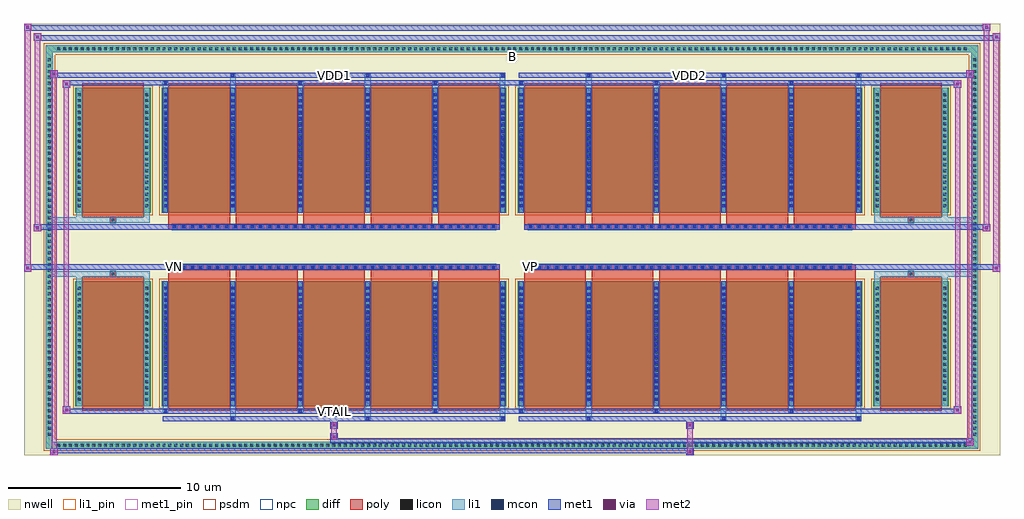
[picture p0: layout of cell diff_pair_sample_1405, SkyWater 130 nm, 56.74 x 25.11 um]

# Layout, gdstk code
import gdstk
lib = gdstk.Library(unit=1e-6, precision=5e-09)
def R(c, l, rs):  # rectangles x0, y0, x1, y1
    for r in rs: c.add(gdstk.rectangle(r[:2], r[2:], *l))
def A(c, l, x, y, w, h, nx, ny, dx, dy):  # array of equal rectangles
    R(c, l, [(x+i*dx, y+j*dy, x+i*dx+w, y+j*dy+h) for i in range(nx) for j in range(ny)])
def P(c, l, *ps):  # polygons
    for p in ps: c.add(gdstk.Polygon(p, *l))
nwell = (64, 20)
diff = (65, 20)
poly = (66, 20)
licon = (66, 44)
li1_pin = (67, 16)
li1 = (67, 20)
mcon = (67, 44)
met1_pin = (68, 16)
met1 = (68, 20)
via = (68, 44)
met2 = (69, 20)
psdm = (94, 20)
npc = (95, 20)

diff_pair_sample_1405 = lib.new_cell('diff_pair_sample_1405')
R(diff_pair_sample_1405, nwell, [(-28.37,-12.12,28.37,12.99), (-25.69,-10.31,-0.01,-0.805), (0.01,-10.31,25.69,-0.805), (-25.69,0.805,-0.01,10.31), (0.01,0.805,25.69,10.31)])
A(diff_pair_sample_1405, diff, -26.555, -11.72, 0.41, 0.41, 156, 2, 0.34, 23.03)
A(diff_pair_sample_1405, diff, -27.1, -11.085, 0.41, 0.41, 1, 65, 0, 0.34)
A(diff_pair_sample_1405, diff, 26.69, -11.085, 0.41, 0.41, 1, 65, 0, 0.34)
R(diff_pair_sample_1405, diff, [(-26.555,-11.72,26.555,-11.31), (-27.1,-11.085,-26.69,11.085), (26.69,-11.085,27.1,11.085), (-25.38,-9.265,-21.01,-1.985), (-20.37,-9.265,-0.32,-1.985), (0.32,-9.265,20.37,-1.985), (21.01,-9.265,25.38,-1.985), (-25.38,1.985,-21.01,9.265), (-20.37,1.985,-0.32,9.265), (0.32,1.985,20.37,9.265), (21.01,1.985,25.38,9.265), (-26.555,11.31,26.555,11.72)])
P(diff_pair_sample_1405, diff, [(27.1,11.72),(-27.1,11.72),(-27.1,-11.31),(-26.69,-11.31),(-26.69,11.31),(26.69,11.31),(26.69,-11.31),(-26.69,-11.31),(-27.1,-11.31),(-27.1,-11.72),(27.1,-11.72)])
A(diff_pair_sample_1405, poly, -19.98, -9.515, 3.59, 7.78, 5, 2, 3.92, 11.25)
A(diff_pair_sample_1405, poly, 0.71, -9.515, 3.59, 7.78, 5, 2, 3.92, 11.25)
A(diff_pair_sample_1405, poly, -19.98, -1.735, 3.59, 0.4, 5, 2, 3.92, 3.07)
A(diff_pair_sample_1405, poly, 0.71, -1.735, 3.59, 0.4, 5, 2, 3.92, 3.07)
A(diff_pair_sample_1405, poly, -19.76, -1.335, 0.33, 0.33, 38, 2, 0.5, 2.34)
A(diff_pair_sample_1405, poly, 0.93, -1.335, 0.33, 0.33, 38, 2, 0.5, 2.34)
R(diff_pair_sample_1405, poly, [(-24.99,-9.515,-21.4,-1.735), (21.4,-9.515,24.99,-1.735), (-23.36,-1.735,-23.03,-1.405), (-23.36,-1.735,-23.03,-1.405), (23.03,-1.735,23.36,-1.405), (23.03,-1.735,23.36,-1.405), (-19.98,-1.335,-0.71,-1.005), (0.71,-1.335,19.98,-1.005), (-19.98,1.005,-0.71,1.335), (0.71,1.005,19.98,1.335), (-23.36,1.405,-23.03,1.735), (-23.36,1.405,-23.03,1.735), (23.03,1.405,23.36,1.735), (23.03,1.405,23.36,1.735), (-24.99,1.735,-21.4,9.515), (21.4,1.735,24.99,9.515)])
A(diff_pair_sample_1405, licon, -26.435, -11.6, 0.17, 0.17, 156, 2, 0.34, 23.03)
A(diff_pair_sample_1405, licon, -26.98, -10.965, 0.17, 0.17, 1, 65, 0, 0.34)
A(diff_pair_sample_1405, licon, 26.81, -10.965, 0.17, 0.17, 1, 65, 0, 0.34)
A(diff_pair_sample_1405, licon, -25.24, -8.94, 0.17, 0.17, 1, 20, 0, 0.34)
A(diff_pair_sample_1405, licon, -21.32, -8.94, 0.17, 0.17, 1, 20, 0, 0.34)
A(diff_pair_sample_1405, licon, -20.23, -8.94, 0.17, 0.17, 6, 20, 3.92, 0.34)
A(diff_pair_sample_1405, licon, 0.46, -8.94, 0.17, 0.17, 6, 20, 3.92, 0.34)
A(diff_pair_sample_1405, licon, 21.15, -8.94, 0.17, 0.17, 1, 20, 0, 0.34)
A(diff_pair_sample_1405, licon, 25.07, -8.94, 0.17, 0.17, 1, 20, 0, 0.34)
A(diff_pair_sample_1405, licon, -19.68, -1.255, 0.17, 0.17, 38, 2, 0.5, 2.34)
A(diff_pair_sample_1405, licon, 1.01, -1.255, 0.17, 0.17, 38, 2, 0.5, 2.34)
A(diff_pair_sample_1405, licon, -25.24, 2.31, 0.17, 0.17, 1, 20, 0, 0.34)
A(diff_pair_sample_1405, licon, -21.32, 2.31, 0.17, 0.17, 1, 20, 0, 0.34)
A(diff_pair_sample_1405, licon, -20.23, 2.31, 0.17, 0.17, 6, 20, 3.92, 0.34)
A(diff_pair_sample_1405, licon, 0.46, 2.31, 0.17, 0.17, 6, 20, 3.92, 0.34)
A(diff_pair_sample_1405, licon, 21.15, 2.31, 0.17, 0.17, 1, 20, 0, 0.34)
A(diff_pair_sample_1405, licon, 25.07, 2.31, 0.17, 0.17, 1, 20, 0, 0.34)
R(diff_pair_sample_1405, licon, [(-23.28,-1.655,-23.11,-1.485), (23.11,-1.655,23.28,-1.485), (-23.28,1.485,-23.11,1.655), (23.11,1.485,23.28,1.655)])
R(diff_pair_sample_1405, li1_pin, [(-0.25,10.81,0.25,11.31)])
A(diff_pair_sample_1405, li1, -26.515, -11.68, 0.33, 0.33, 156, 2, 0.34, 23.03)
A(diff_pair_sample_1405, li1, -27.06, -11.045, 0.33, 0.33, 1, 65, 0, 0.34)
A(diff_pair_sample_1405, li1, 26.73, -11.045, 0.33, 0.33, 1, 65, 0, 0.34)
A(diff_pair_sample_1405, li1, -16.39, -10.07, 0.33, 0.805, 3, 2, 7.84, 19.335)
A(diff_pair_sample_1405, li1, -16.31, -10.07, 0.17, 0.17, 3, 2, 7.84, 19.97)
A(diff_pair_sample_1405, li1, 4.3, -10.07, 0.33, 0.805, 3, 2, 7.84, 19.335)
A(diff_pair_sample_1405, li1, 4.38, -10.07, 0.17, 0.17, 3, 2, 7.84, 19.97)
A(diff_pair_sample_1405, li1, -20.31, -9.64, 0.33, 0.375, 3, 2, 7.84, 18.905)
A(diff_pair_sample_1405, li1, -20.23, -9.64, 0.17, 0.17, 3, 2, 7.84, 19.11)
A(diff_pair_sample_1405, li1, 0.38, -9.64, 0.33, 0.375, 3, 2, 7.84, 18.905)
A(diff_pair_sample_1405, li1, 0.46, -9.64, 0.17, 0.17, 3, 2, 7.84, 19.11)
A(diff_pair_sample_1405, li1, -20.31, -9.265, 0.33, 7.28, 6, 2, 3.92, 11.25)
A(diff_pair_sample_1405, li1, 0.38, -9.265, 0.33, 7.28, 6, 2, 3.92, 11.25)
A(diff_pair_sample_1405, li1, -25.32, -9.02, 0.33, 0.33, 1, 20, 0, 0.34)
A(diff_pair_sample_1405, li1, -21.4, -9.02, 0.33, 0.33, 1, 20, 0, 0.34)
A(diff_pair_sample_1405, li1, -20.31, -9.02, 0.33, 0.33, 6, 20, 3.92, 0.34)
A(diff_pair_sample_1405, li1, 0.38, -9.02, 0.33, 0.33, 6, 20, 3.92, 0.34)
A(diff_pair_sample_1405, li1, 21.07, -9.02, 0.33, 0.33, 1, 20, 0, 0.34)
A(diff_pair_sample_1405, li1, 24.99, -9.02, 0.33, 0.33, 1, 20, 0, 0.34)
A(diff_pair_sample_1405, li1, -20.23, -8.95, 0.17, 0.17, 6, 19, 3.92, 0.36)
A(diff_pair_sample_1405, li1, -20.23, -8.95, 0.17, 6.65, 6, 2, 3.92, 11.25)
A(diff_pair_sample_1405, li1, 0.46, -8.95, 0.17, 0.17, 6, 19, 3.92, 0.36)
A(diff_pair_sample_1405, li1, 0.46, -8.95, 0.17, 6.65, 6, 2, 3.92, 11.25)
A(diff_pair_sample_1405, li1, -19.76, -1.335, 0.33, 0.33, 38, 2, 0.5, 2.34)
A(diff_pair_sample_1405, li1, 0.93, -1.335, 0.33, 0.33, 38, 2, 0.5, 2.34)
A(diff_pair_sample_1405, li1, -25.32, 2.23, 0.33, 0.33, 1, 20, 0, 0.34)
A(diff_pair_sample_1405, li1, -21.4, 2.23, 0.33, 0.33, 1, 20, 0, 0.34)
A(diff_pair_sample_1405, li1, -20.31, 2.23, 0.33, 0.33, 6, 20, 3.92, 0.34)
A(diff_pair_sample_1405, li1, 0.38, 2.23, 0.33, 0.33, 6, 20, 3.92, 0.34)
A(diff_pair_sample_1405, li1, 21.07, 2.23, 0.33, 0.33, 1, 20, 0, 0.34)
A(diff_pair_sample_1405, li1, 24.99, 2.23, 0.33, 0.33, 1, 20, 0, 0.34)
A(diff_pair_sample_1405, li1, -20.23, 2.3, 0.17, 0.17, 6, 19, 3.92, 0.36)
A(diff_pair_sample_1405, li1, 0.46, 2.3, 0.17, 0.17, 6, 19, 3.92, 0.36)
R(diff_pair_sample_1405, li1, [(-27.1,-11.72,-26.69,-11.31), (-27.1,-11.72,-26.69,-11.31), (-26.69,-11.72,26.69,-11.31), (26.69,-11.72,27.1,-11.31), (26.69,-11.72,27.1,-11.31), (-27.1,-11.31,-26.69,11.31), (26.69,-11.31,27.1,11.31), (-25.32,-9.265,-24.99,-1.985), (-21.4,-9.265,-21.07,-1.985), (21.07,-9.265,21.4,-1.985), (24.99,-9.265,25.32,-1.985), (-25.32,-1.985,-24.99,-1.405), (-21.4,-1.985,-21.07,-1.405), (21.07,-1.985,21.4,-1.405), (24.99,-1.985,25.32,-1.405), (-27.1,-1.735,-23.36,-1.405), (-25.32,-1.735,-23.36,-1.405), (-23.36,-1.735,-23.03,-1.405), (-23.03,-1.735,-21.07,-1.405), (21.07,-1.735,23.03,-1.405), (23.03,-1.735,23.36,-1.405), (23.03,-1.735,27.1,-1.405), (23.36,-1.735,25.32,-1.405), (-27.1,1.405,-23.36,1.735), (-25.32,1.405,-23.36,1.735), (-25.32,1.405,-24.99,1.985), (-23.36,1.405,-23.03,1.735), (-23.03,1.405,-21.07,1.735), (-21.4,1.405,-21.07,1.985), (21.07,1.405,23.03,1.735), (21.07,1.405,21.4,1.985), (23.03,1.405,23.36,1.735), (23.03,1.405,27.1,1.735), (23.36,1.405,25.32,1.735), (24.99,1.405,25.32,1.985), (-25.32,1.985,-24.99,9.265), (-21.4,1.985,-21.07,9.265), (21.07,1.985,21.4,9.265), (24.99,1.985,25.32,9.265), (-27.1,11.31,-26.69,11.72), (-27.1,11.31,-26.69,11.72), (-26.69,11.31,26.69,11.72), (26.69,11.31,27.1,11.72), (26.69,11.31,27.1,11.72)])
A(diff_pair_sample_1405, mcon, -16.31, -10.07, 0.17, 0.17, 3, 2, 7.84, 19.97)
A(diff_pair_sample_1405, mcon, 4.38, -10.07, 0.17, 0.17, 3, 2, 7.84, 19.97)
A(diff_pair_sample_1405, mcon, -20.23, -9.64, 0.17, 0.17, 3, 2, 7.84, 19.11)
A(diff_pair_sample_1405, mcon, 0.46, -9.64, 0.17, 0.17, 3, 2, 7.84, 19.11)
A(diff_pair_sample_1405, mcon, -20.23, -8.95, 0.17, 0.17, 6, 19, 3.92, 0.36)
A(diff_pair_sample_1405, mcon, 0.46, -8.95, 0.17, 0.17, 6, 19, 3.92, 0.36)
A(diff_pair_sample_1405, mcon, -19.68, -1.255, 0.17, 0.17, 38, 2, 0.5, 2.34)
A(diff_pair_sample_1405, mcon, 1.01, -1.255, 0.17, 0.17, 38, 2, 0.5, 2.34)
A(diff_pair_sample_1405, mcon, -20.23, 2.3, 0.17, 0.17, 6, 19, 3.92, 0.36)
A(diff_pair_sample_1405, mcon, 0.46, 2.3, 0.17, 0.17, 6, 19, 3.92, 0.36)
R(diff_pair_sample_1405, met1_pin, [(-10.48,-9.68,-10.21,-9.41), (-19.73,-1.295,-19.46,-1.025), (0.96,-1.295,1.23,-1.025), (-10.48,9.86,-10.21,10.13), (10.21,9.86,10.48,10.13)])
A(diff_pair_sample_1405, met1, -16.37, -10.13, 0.29, 0.29, 3, 2, 7.84, 19.97)
A(diff_pair_sample_1405, met1, 4.32, -10.13, 0.29, 0.29, 3, 2, 7.84, 19.97)
A(diff_pair_sample_1405, met1, -20.29, -9.7, 0.29, 0.29, 3, 2, 7.84, 19.11)
A(diff_pair_sample_1405, met1, 0.4, -9.7, 0.29, 0.29, 3, 2, 7.84, 19.11)
A(diff_pair_sample_1405, met1, -20.29, -9.265, 0.29, 7.28, 6, 2, 3.92, 11.25)
A(diff_pair_sample_1405, met1, 0.4, -9.265, 0.29, 7.28, 6, 2, 3.92, 11.25)
A(diff_pair_sample_1405, met1, -20.29, -9.01, 0.29, 0.29, 6, 19, 3.92, 0.36)
A(diff_pair_sample_1405, met1, 0.4, -9.01, 0.29, 0.29, 6, 19, 3.92, 0.36)
A(diff_pair_sample_1405, met1, -19.74, -1.315, 0.29, 0.29, 38, 2, 0.5, 2.34)
A(diff_pair_sample_1405, met1, 0.95, -1.315, 0.29, 0.29, 38, 2, 0.5, 2.34)
A(diff_pair_sample_1405, met1, -20.29, 2.24, 0.29, 0.29, 6, 19, 3.92, 0.36)
A(diff_pair_sample_1405, met1, 0.4, 2.24, 0.29, 0.29, 6, 19, 3.92, 0.36)
R(diff_pair_sample_1405, met1, [(-26.83,-12.12,-26.4,-11.69), (10.13,-12.12,10.56,-11.69), (-26.83,-11.98,10.56,-11.69), (26.4,-11.55,26.83,-11.12), (-10.56,-11.41,26.83,-11.12), (-10.56,-11.27,-10.13,-10.84), (-10.56,-10.56,-10.13,-10.13), (10.13,-10.56,10.56,-10.13), (-20.29,-10.13,-0.4,-9.84), (0.4,-10.13,20.29,-9.84), (-26.12,-9.7,-25.69,-9.27), (-26.12,-9.7,-20.29,-9.41), (-20.29,-9.7,-0.4,-9.41), (-0.4,-9.7,0.4,-9.41), (0.4,-9.7,20.29,-9.41), (20.29,-9.7,26.12,-9.41), (25.69,-9.7,26.12,-9.27), (-28.37,-1.435,-27.94,-1.005), (27.94,-1.435,28.37,-1.005), (-28.37,-1.335,-0.71,-1.005), (-19.98,-1.335,-0.71,-1.005), (0.71,-1.335,19.98,-1.005), (0.71,-1.335,28.37,-1.005), (-27.8,0.905,-27.37,1.335), (27.37,0.905,27.8,1.335), (-27.8,1.005,-19.98,1.335), (-19.98,1.005,-0.71,1.335), (0.71,1.005,19.98,1.335), (19.98,1.005,27.8,1.335), (-26.12,9.27,-25.69,9.7), (25.69,9.27,26.12,9.7), (-26.12,9.41,-20.29,9.7), (-20.29,9.41,-0.4,9.7), (-0.4,9.41,0.4,9.7), (0.4,9.41,20.29,9.7), (20.29,9.41,26.12,9.7), (-26.83,9.84,-26.4,10.27), (-26.83,9.84,-20.29,10.13), (-20.29,9.84,-0.4,10.13), (0.4,9.84,20.29,10.13), (20.29,9.84,26.83,10.13), (26.4,9.84,26.83,10.27), (-27.8,11.99,-27.37,12.42), (-27.8,11.99,-25.69,12.32), (-25.69,11.99,25.69,12.32), (25.69,11.99,28.37,12.32), (27.94,11.99,28.37,12.42), (-28.37,12.56,-27.94,12.99), (-28.37,12.56,-25.69,12.89), (-25.69,12.56,25.69,12.89), (25.69,12.56,27.8,12.89), (27.37,12.56,27.8,12.99)])
R(diff_pair_sample_1405, via, [(-26.69,-11.98,-26.54,-11.83), (10.27,-11.98,10.42,-11.83), (26.54,-11.41,26.69,-11.26), (-10.42,-11.13,-10.27,-10.98), (-10.42,-10.42,-10.27,-10.27), (10.27,-10.42,10.42,-10.27), (-25.98,-9.56,-25.83,-9.41), (25.83,-9.56,25.98,-9.41), (-28.23,-1.295,-28.08,-1.145), (28.08,-1.295,28.23,-1.145), (-27.66,1.045,-27.51,1.195), (27.51,1.045,27.66,1.195), (-25.98,9.41,-25.83,9.56), (25.83,9.41,25.98,9.56), (-26.69,9.98,-26.54,10.13), (26.54,9.98,26.69,10.13), (-27.66,12.13,-27.51,12.28), (28.08,12.13,28.23,12.28), (-28.23,12.7,-28.08,12.85), (27.51,12.7,27.66,12.85)])
R(diff_pair_sample_1405, met2, [(-26.83,-12.12,-26.4,-11.69), (-26.76,-12.12,-26.47,10.27), (-26.47,-12.12,-26.4,-11.69), (-26.78,-12.07,-26.45,-11.74), (10.18,-12.07,10.51,-11.74), (10.18,-11.74,10.51,-10.51), (26.4,-11.55,26.83,-11.12), (26.47,-11.55,26.76,10.27), (26.76,-11.55,26.83,-11.12), (26.45,-11.5,26.78,-11.17), (-10.51,-11.22,-10.18,-10.89), (-10.51,-10.89,-10.18,-10.51), (-10.51,-10.51,-10.18,-10.18), (10.18,-10.51,10.51,-10.18), (-26.12,-9.7,-25.69,-9.27), (-26.05,-9.7,-25.76,9.7), (-25.76,-9.7,-25.69,-9.27), (25.69,-9.7,26.12,-9.27), (25.76,-9.7,26.05,9.7), (26.05,-9.7,26.12,-9.27), (-26.07,-9.65,-25.74,-9.32), (25.74,-9.65,26.07,-9.32), (-28.37,-1.435,-27.94,-1.005), (-28.32,-1.435,-27.99,12.99), (-27.99,-1.435,-27.94,-1.005), (27.94,-1.435,28.37,-1.005), (27.99,-1.435,28.32,12.42), (28.32,-1.435,28.37,-1.005), (-28.32,-1.385,-27.99,-1.055), (27.99,-1.385,28.32,-1.055), (-27.8,0.905,-27.37,1.335), (-27.75,0.905,-27.42,12.42), (-27.42,0.905,-27.37,1.335), (27.37,0.905,27.8,1.335), (27.42,0.905,27.75,12.99), (27.75,0.905,27.8,1.335), (-27.75,0.955,-27.42,1.285), (27.42,0.955,27.75,1.285), (-26.12,9.27,-25.69,9.7), (-25.76,9.27,-25.69,9.7), (25.69,9.27,26.12,9.7), (26.05,9.27,26.12,9.7), (-26.07,9.32,-25.74,9.65), (25.74,9.32,26.07,9.65), (-26.83,9.84,-26.4,10.27), (-26.47,9.84,-26.4,10.27), (26.4,9.84,26.83,10.27), (26.76,9.84,26.83,10.27), (-26.78,9.89,-26.45,10.22), (26.45,9.89,26.78,10.22), (-27.8,11.99,-27.37,12.42), (-27.42,11.99,-27.37,12.42), (27.94,11.99,28.37,12.42), (28.32,11.99,28.37,12.42), (-27.75,12.04,-27.42,12.37), (27.99,12.04,28.32,12.37), (-28.37,12.56,-27.94,12.99), (-27.99,12.56,-27.94,12.99), (27.37,12.56,27.8,12.99), (27.75,12.56,27.8,12.99), (-28.32,12.61,-27.99,12.94), (27.42,12.61,27.75,12.94)])
R(diff_pair_sample_1405, psdm, [(-25.51,-9.395,-20.88,-1.855), (-20.5,-9.395,-0.19,-1.855), (0.19,-9.395,20.5,-1.855), (20.88,-9.395,25.51,-1.855), (-25.51,1.855,-20.88,9.395), (-20.5,1.855,-0.19,9.395), (0.19,1.855,20.5,9.395), (20.88,1.855,25.51,9.395)])
P(diff_pair_sample_1405, psdm, [(27.23,11.85),(-27.23,11.85),(-27.23,-11.18),(-26.56,-11.18),(-26.56,11.18),(26.56,11.18),(26.56,-11.18),(-26.56,-11.18),(-27.23,-11.18),(-27.23,-11.85),(27.23,-11.85)])
A(diff_pair_sample_1405, npc, -19.78, -1.355, 0.37, 0.37, 38, 2, 0.5, 2.34)
A(diff_pair_sample_1405, npc, 0.91, -1.355, 0.37, 0.37, 38, 2, 0.5, 2.34)
R(diff_pair_sample_1405, npc, [(-23.38,-1.755,-23.01,-1.385), (23.01,-1.755,23.38,-1.385), (-19.78,-1.355,-18.91,-0.985), (-19.78,-1.355,-18.91,-0.985), (-19.28,-1.355,-18.41,-0.985), (-19.28,-1.355,-18.41,-0.985), (-18.78,-1.355,-17.91,-0.985), (-18.78,-1.355,-17.91,-0.985), (-18.28,-1.355,-17.41,-0.985), (-18.28,-1.355,-17.41,-0.985), (-17.78,-1.355,-16.91,-0.985), (-17.78,-1.355,-16.91,-0.985), (-17.28,-1.355,-16.41,-0.985), (-17.28,-1.355,-16.41,-0.985), (-16.78,-1.355,-15.91,-0.985), (-16.78,-1.355,-15.91,-0.985), (-16.28,-1.355,-15.41,-0.985), (-16.28,-1.355,-15.41,-0.985), (-15.78,-1.355,-14.91,-0.985), (-15.78,-1.355,-14.91,-0.985), (-15.28,-1.355,-14.41,-0.985), (-15.28,-1.355,-14.41,-0.985), (-14.78,-1.355,-13.91,-0.985), (-14.78,-1.355,-13.91,-0.985), (-14.28,-1.355,-13.41,-0.985), (-14.28,-1.355,-13.41,-0.985), (-13.78,-1.355,-12.91,-0.985), (-13.78,-1.355,-12.91,-0.985), (-13.28,-1.355,-12.41,-0.985), (-13.28,-1.355,-12.41,-0.985), (-12.78,-1.355,-11.91,-0.985), (-12.78,-1.355,-11.91,-0.985), (-12.28,-1.355,-11.41,-0.985), (-12.28,-1.355,-11.41,-0.985), (-11.78,-1.355,-10.91,-0.985), (-11.78,-1.355,-10.91,-0.985), (-11.28,-1.355,-10.41,-0.985), (-11.28,-1.355,-10.41,-0.985), (-10.78,-1.355,-9.91,-0.985), (-10.78,-1.355,-9.91,-0.985), (-10.28,-1.355,-9.41,-0.985), (-10.28,-1.355,-9.41,-0.985), (-9.78,-1.355,-8.91,-0.985), (-9.78,-1.355,-8.91,-0.985), (-9.28,-1.355,-8.41,-0.985), (-9.28,-1.355,-8.41,-0.985), (-8.78,-1.355,-7.91,-0.985), (-8.78,-1.355,-7.91,-0.985), (-8.28,-1.355,-7.41,-0.985), (-8.28,-1.355,-7.41,-0.985), (-7.78,-1.355,-6.91,-0.985), (-7.78,-1.355,-6.91,-0.985), (-7.28,-1.355,-6.41,-0.985), (-7.28,-1.355,-6.41,-0.985), (-6.78,-1.355,-5.91,-0.985), (-6.78,-1.355,-5.91,-0.985), (-6.28,-1.355,-5.41,-0.985), (-6.28,-1.355,-5.41,-0.985), (-5.78,-1.355,-4.91,-0.985), (-5.78,-1.355,-4.91,-0.985), (-5.28,-1.355,-4.41,-0.985), (-5.28,-1.355,-4.41,-0.985), (-4.78,-1.355,-3.91,-0.985), (-4.78,-1.355,-3.91,-0.985), (-4.28,-1.355,-3.41,-0.985), (-4.28,-1.355,-3.41,-0.985), (-3.78,-1.355,-2.91,-0.985), (-3.78,-1.355,-2.91,-0.985), (-3.28,-1.355,-2.41,-0.985), (-3.28,-1.355,-2.41,-0.985), (-2.78,-1.355,-1.91,-0.985), (-2.78,-1.355,-1.91,-0.985), (-2.28,-1.355,-1.41,-0.985), (-2.28,-1.355,-1.41,-0.985), (-1.78,-1.355,-0.91,-0.985), (-1.78,-1.355,-0.91,-0.985), (0.91,-1.355,1.78,-0.985), (0.91,-1.355,1.78,-0.985), (1.41,-1.355,2.28,-0.985), (1.41,-1.355,2.28,-0.985), (1.91,-1.355,2.78,-0.985), (1.91,-1.355,2.78,-0.985), (2.41,-1.355,3.28,-0.985), (2.41,-1.355,3.28,-0.985), (2.91,-1.355,3.78,-0.985), (2.91,-1.355,3.78,-0.985), (3.41,-1.355,4.28,-0.985), (3.41,-1.355,4.28,-0.985), (3.91,-1.355,4.78,-0.985), (3.91,-1.355,4.78,-0.985), (4.41,-1.355,5.28,-0.985), (4.41,-1.355,5.28,-0.985), (4.91,-1.355,5.78,-0.985), (4.91,-1.355,5.78,-0.985), (5.41,-1.355,6.28,-0.985), (5.41,-1.355,6.28,-0.985), (5.91,-1.355,6.78,-0.985), (5.91,-1.355,6.78,-0.985), (6.41,-1.355,7.28,-0.985), (6.41,-1.355,7.28,-0.985), (6.91,-1.355,7.78,-0.985), (6.91,-1.355,7.78,-0.985), (7.41,-1.355,8.28,-0.985), (7.41,-1.355,8.28,-0.985), (7.91,-1.355,8.78,-0.985), (7.91,-1.355,8.78,-0.985), (8.41,-1.355,9.28,-0.985), (8.41,-1.355,9.28,-0.985), (8.91,-1.355,9.78,-0.985), (8.91,-1.355,9.78,-0.985), (9.41,-1.355,10.28,-0.985), (9.41,-1.355,10.28,-0.985), (9.91,-1.355,10.78,-0.985), (9.91,-1.355,10.78,-0.985), (10.41,-1.355,11.28,-0.985), (10.41,-1.355,11.28,-0.985), (10.91,-1.355,11.78,-0.985), (10.91,-1.355,11.78,-0.985), (11.41,-1.355,12.28,-0.985), (11.41,-1.355,12.28,-0.985), (11.91,-1.355,12.78,-0.985), (11.91,-1.355,12.78,-0.985), (12.41,-1.355,13.28,-0.985), (12.41,-1.355,13.28,-0.985), (12.91,-1.355,13.78,-0.985), (12.91,-1.355,13.78,-0.985), (13.41,-1.355,14.28,-0.985), (13.41,-1.355,14.28,-0.985), (13.91,-1.355,14.78,-0.985), (13.91,-1.355,14.78,-0.985), (14.41,-1.355,15.28,-0.985), (14.41,-1.355,15.28,-0.985), (14.91,-1.355,15.78,-0.985), (14.91,-1.355,15.78,-0.985), (15.41,-1.355,16.28,-0.985), (15.41,-1.355,16.28,-0.985), (15.91,-1.355,16.78,-0.985), (15.91,-1.355,16.78,-0.985), (16.41,-1.355,17.28,-0.985), (16.41,-1.355,17.28,-0.985), (16.91,-1.355,17.78,-0.985), (16.91,-1.355,17.78,-0.985), (17.41,-1.355,18.28,-0.985), (17.41,-1.355,18.28,-0.985), (17.91,-1.355,18.78,-0.985), (17.91,-1.355,18.78,-0.985), (18.41,-1.355,19.28,-0.985), (18.41,-1.355,19.28,-0.985), (18.91,-1.355,19.78,-0.985), (18.91,-1.355,19.78,-0.985), (-19.78,0.985,-18.91,1.355), (-19.78,0.985,-18.91,1.355), (-19.28,0.985,-18.41,1.355), (-19.28,0.985,-18.41,1.355), (-18.78,0.985,-17.91,1.355), (-18.78,0.985,-17.91,1.355), (-18.28,0.985,-17.41,1.355), (-18.28,0.985,-17.41,1.355), (-17.78,0.985,-16.91,1.355), (-17.78,0.985,-16.91,1.355), (-17.28,0.985,-16.41,1.355), (-17.28,0.985,-16.41,1.355), (-16.78,0.985,-15.91,1.355), (-16.78,0.985,-15.91,1.355), (-16.28,0.985,-15.41,1.355), (-16.28,0.985,-15.41,1.355), (-15.78,0.985,-14.91,1.355), (-15.78,0.985,-14.91,1.355), (-15.28,0.985,-14.41,1.355), (-15.28,0.985,-14.41,1.355), (-14.78,0.985,-13.91,1.355), (-14.78,0.985,-13.91,1.355), (-14.28,0.985,-13.41,1.355), (-14.28,0.985,-13.41,1.355), (-13.78,0.985,-12.91,1.355), (-13.78,0.985,-12.91,1.355), (-13.28,0.985,-12.41,1.355), (-13.28,0.985,-12.41,1.355), (-12.78,0.985,-11.91,1.355), (-12.78,0.985,-11.91,1.355), (-12.28,0.985,-11.41,1.355), (-12.28,0.985,-11.41,1.355), (-11.78,0.985,-10.91,1.355), (-11.78,0.985,-10.91,1.355), (-11.28,0.985,-10.41,1.355), (-11.28,0.985,-10.41,1.355), (-10.78,0.985,-9.91,1.355), (-10.78,0.985,-9.91,1.355), (-10.28,0.985,-9.41,1.355), (-10.28,0.985,-9.41,1.355), (-9.78,0.985,-8.91,1.355), (-9.78,0.985,-8.91,1.355), (-9.28,0.985,-8.41,1.355), (-9.28,0.985,-8.41,1.355), (-8.78,0.985,-7.91,1.355), (-8.78,0.985,-7.91,1.355), (-8.28,0.985,-7.41,1.355), (-8.28,0.985,-7.41,1.355), (-7.78,0.985,-6.91,1.355), (-7.78,0.985,-6.91,1.355), (-7.28,0.985,-6.41,1.355), (-7.28,0.985,-6.41,1.355), (-6.78,0.985,-5.91,1.355), (-6.78,0.985,-5.91,1.355), (-6.28,0.985,-5.41,1.355), (-6.28,0.985,-5.41,1.355), (-5.78,0.985,-4.91,1.355), (-5.78,0.985,-4.91,1.355), (-5.28,0.985,-4.41,1.355), (-5.28,0.985,-4.41,1.355), (-4.78,0.985,-3.91,1.355), (-4.78,0.985,-3.91,1.355), (-4.28,0.985,-3.41,1.355), (-4.28,0.985,-3.41,1.355), (-3.78,0.985,-2.91,1.355), (-3.78,0.985,-2.91,1.355), (-3.28,0.985,-2.41,1.355), (-3.28,0.985,-2.41,1.355), (-2.78,0.985,-1.91,1.355), (-2.78,0.985,-1.91,1.355), (-2.28,0.985,-1.41,1.355), (-2.28,0.985,-1.41,1.355), (-1.78,0.985,-0.91,1.355), (-1.78,0.985,-0.91,1.355), (0.91,0.985,1.78,1.355), (0.91,0.985,1.78,1.355), (1.41,0.985,2.28,1.355), (1.41,0.985,2.28,1.355), (1.91,0.985,2.78,1.355), (1.91,0.985,2.78,1.355), (2.41,0.985,3.28,1.355), (2.41,0.985,3.28,1.355), (2.91,0.985,3.78,1.355), (2.91,0.985,3.78,1.355), (3.41,0.985,4.28,1.355), (3.41,0.985,4.28,1.355), (3.91,0.985,4.78,1.355), (3.91,0.985,4.78,1.355), (4.41,0.985,5.28,1.355), (4.41,0.985,5.28,1.355), (4.91,0.985,5.78,1.355), (4.91,0.985,5.78,1.355), (5.41,0.985,6.28,1.355), (5.41,0.985,6.28,1.355), (5.91,0.985,6.78,1.355), (5.91,0.985,6.78,1.355), (6.41,0.985,7.28,1.355), (6.41,0.985,7.28,1.355), (6.91,0.985,7.78,1.355), (6.91,0.985,7.78,1.355), (7.41,0.985,8.28,1.355), (7.41,0.985,8.28,1.355), (7.91,0.985,8.78,1.355), (7.91,0.985,8.78,1.355), (8.41,0.985,9.28,1.355), (8.41,0.985,9.28,1.355), (8.91,0.985,9.78,1.355), (8.91,0.985,9.78,1.355), (9.41,0.985,10.28,1.355), (9.41,0.985,10.28,1.355), (9.91,0.985,10.78,1.355), (9.91,0.985,10.78,1.355), (10.41,0.985,11.28,1.355), (10.41,0.985,11.28,1.355), (10.91,0.985,11.78,1.355), (10.91,0.985,11.78,1.355), (11.41,0.985,12.28,1.355), (11.41,0.985,12.28,1.355), (11.91,0.985,12.78,1.355), (11.91,0.985,12.78,1.355), (12.41,0.985,13.28,1.355), (12.41,0.985,13.28,1.355), (12.91,0.985,13.78,1.355), (12.91,0.985,13.78,1.355), (13.41,0.985,14.28,1.355), (13.41,0.985,14.28,1.355), (13.91,0.985,14.78,1.355), (13.91,0.985,14.78,1.355), (14.41,0.985,15.28,1.355), (14.41,0.985,15.28,1.355), (14.91,0.985,15.78,1.355), (14.91,0.985,15.78,1.355), (15.41,0.985,16.28,1.355), (15.41,0.985,16.28,1.355), (15.91,0.985,16.78,1.355), (15.91,0.985,16.78,1.355), (16.41,0.985,17.28,1.355), (16.41,0.985,17.28,1.355), (16.91,0.985,17.78,1.355), (16.91,0.985,17.78,1.355), (17.41,0.985,18.28,1.355), (17.41,0.985,18.28,1.355), (17.91,0.985,18.78,1.355), (17.91,0.985,18.78,1.355), (18.41,0.985,19.28,1.355), (18.41,0.985,19.28,1.355), (18.91,0.985,19.78,1.355), (18.91,0.985,19.78,1.355), (-23.38,1.385,-23.01,1.755), (23.01,1.385,23.38,1.755)])
diff_pair_sample_1405.add(gdstk.Label('VTAIL', (-10.345,-9.545), layer=68, texttype=5))
diff_pair_sample_1405.add(gdstk.Label('VN', (-19.595,-1.16), layer=68, texttype=5))
diff_pair_sample_1405.add(gdstk.Label('VP', (1.095,-1.16), layer=68, texttype=5))
diff_pair_sample_1405.add(gdstk.Label('B', (0,11.06), layer=67, texttype=5))
diff_pair_sample_1405.add(gdstk.Label('VDD2', (10.345,9.995), layer=68, texttype=5))
diff_pair_sample_1405.add(gdstk.Label('VDD1', (-10.345,9.995), layer=68, texttype=5))

lib.write_gds('diff_pair_sample_1405.gds')
